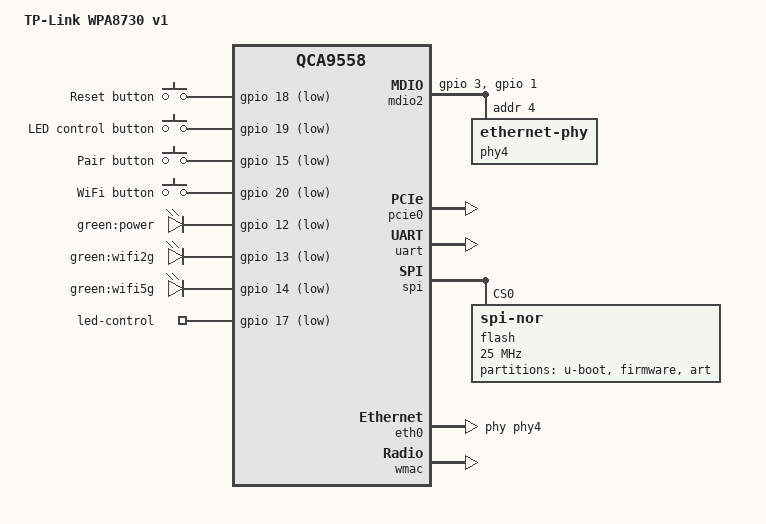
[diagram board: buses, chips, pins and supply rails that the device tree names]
// SPDX-License-Identifier: GPL-2.0-or-later OR MIT

#include "qca955x.dtsi"

#include <dt-bindings/gpio/gpio.h>
#include <dt-bindings/input/input.h>

/ {
	compatible = "tplink,tl-wpa8730-v1", "qca,qca9558";
	model = "TP-Link WPA8730 v1";

	aliases {
		label-mac-device = &eth0;

		led-boot = &led_power;
		led-failsafe = &led_power;
		led-running = &led_power;
		led-upgrade = &led_power;
	};

	keys {
		compatible = "gpio-keys";

		reset {
			label = "Reset button";
			linux,code = <KEY_RESTART>;
			gpios = <&gpio 18 GPIO_ACTIVE_LOW>;
			debounce-interval = <60>;
		};

		leds {
			label = "LED control button";
			linux,code = <KEY_LIGHTS_TOGGLE>;
			gpios = <&gpio 19 GPIO_ACTIVE_LOW>;
			debounce-interval = <60>;
		};

		pair {
			label = "Pair button";
			linux,code = <BTN_1>;
			gpios = <&gpio 15 GPIO_ACTIVE_LOW>;
			debounce-interval = <60>;
		};

		wifi {
			label = "WiFi button";
			linux,code = <KEY_RFKILL>;
			gpios = <&gpio 20 GPIO_ACTIVE_LOW>;
			debounce-interval = <60>;
		};
	};

	leds {
		compatible = "gpio-leds";

		led_power: power {
			label = "green:power";
			gpios = <&gpio 12 GPIO_ACTIVE_LOW>;
		};

		wifi2g {
			label = "green:wifi2g";
			gpios = <&gpio 13 GPIO_ACTIVE_LOW>;
			linux,default-trigger = "phy1tpt";
		};

		wifi5g {
			label = "green:wifi5g";
			gpios = <&gpio 14 GPIO_ACTIVE_LOW>;
			linux,default-trigger = "phy0tpt";
		};
	};

	gpio-export {
		compatible = "gpio-export";

		led_control {
			gpio-export,name = "led-control";
			gpio-export,output = <0>;
			gpios = <&gpio 17 GPIO_ACTIVE_LOW>;
		};
	};

	mdio2: mdio {
		compatible = "virtual,mdio-gpio";

		gpios = <&gpio 3 GPIO_ACTIVE_HIGH>, /* MDC */
			<&gpio 1 GPIO_ACTIVE_HIGH>; /* MDIO */
		#address-cells = <1>;
		#size-cells = <0>;

		phy4: ethernet-phy@4 {
			reg = <4>;
		};
	};
};

&pcie0 {
	status = "okay";
};

&uart {
	status = "okay";
};

&spi {
	status = "okay";

	flash@0 {
		compatible = "jedec,spi-nor";
		reg = <0>;
		spi-max-frequency = <25000000>;

		partitions {
			compatible = "fixed-partitions";
			#address-cells = <1>;
			#size-cells = <1>;

			uboot: partition@0 {
				label = "u-boot";
				reg = <0x000000 0x010000>;
				read-only;
			};

			partition@10000 {
				compatible = "tplink,firmware";
				label = "firmware";
				reg = <0x010000 0x7e0000>;
			};

			art: partition@7f0000 {
				label = "art";
				reg = <0x7f0000 0x010000>;
				read-only;
			};
		};
	};
};

&eth0 {
	status = "okay";

	phy-handle = <&phy4>;
	pll-data = <0xa6000000 0x00000101 0x00001616>;

	nvmem-cells = <&macaddr_uboot_fc00>;
	nvmem-cell-names = "mac-address";
};

&wmac {
	status = "okay";

	mtd-cal-data = <&art 0x1000>;

	nvmem-cells = <&macaddr_uboot_fc00>;
	nvmem-cell-names = "mac-address";
};

&uboot {
	compatible = "nvmem-cells";
	#address-cells = <1>;
	#size-cells = <1>;

	macaddr_uboot_fc00: macaddr@fc00 {
		reg = <0xfc00 0x6>;
	};
};
